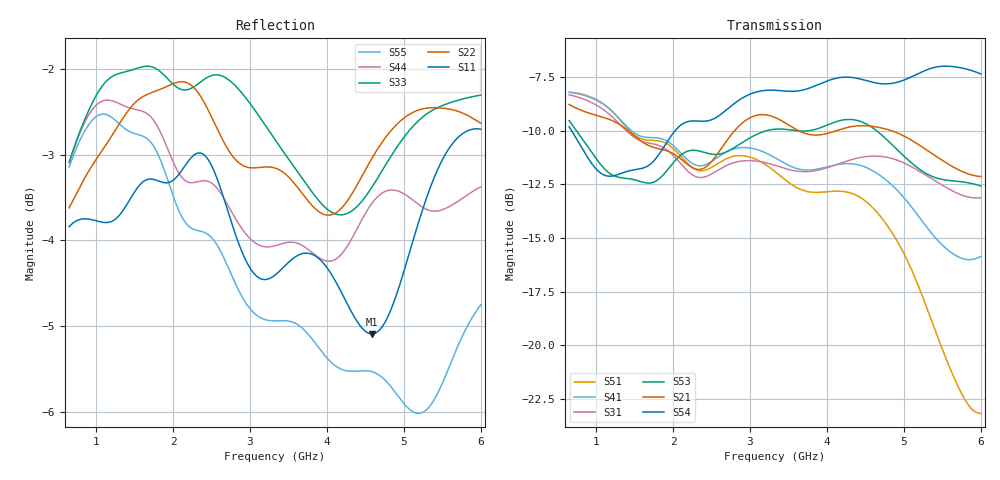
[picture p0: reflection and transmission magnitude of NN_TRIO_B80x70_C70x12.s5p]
! IGNION VIRTUAL ANTENNA LIBRARY
! NN_TRIO_B80x70_C70x12
! Virtual Antenna™ TRIO mXTEND™: NN03-310 30.0mm x 3.0mm x 1.0mm
! https://ignion.io/product/trio-mxtend/
! Board: 80mm x 70mm
! Clearance Area: 70mm x 12mm
! Feeding line: straight line; 9mm x 1mm
! Applications: Smartphone, Fleet management, IoT
! Frequency range 0.65GHz to 6GHz, step ~5MHz
! Number of ports 5
! This product and its use are protected by at least one or more of the following patents and
! patent applications PAT. US 2020/0176855 A1; WO 2019/008171 A1; and other domestic and international
! patents pending. Additional information about patents related to this product is available at
! https://ignion.io/files/Patent-list-NN.pdf, all rights reserved. Copyright, Ignion 2021.
! Need more help? Your platform is much different than these examples in the manual? Use our
! Fast Track service (https://ignion.io/fast-track/), for free, and get a personalized antenna design in
! just 24 hours.
! Touchstone port 1 = CST MWS port 1 ("Series Feeding Port 1")
! Touchstone port 2 = CST MWS port 2 ("Series in-Trio Port 1")
! Touchstone port 3 = CST MWS port 3 ("Series in-Trio Port 2")
! Touchstone port 4 = CST MWS port 4 ("Series Port in Feeding line of Port 2")
! Touchstone port 5 = CST MWS port 5 ("Series Feeding Port 2")
! CST MICROWAVE STUDIO 2019
# GHz S MA R 50
! Nport = 5
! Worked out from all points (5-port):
!   1001 points, 650 MHz to 6 GHz, reference 50 ohm
!   strongest paths, dB at 650 MHz, 1.988 GHz, 3.325 GHz, 4.662 GHz, 6 GHz:
!     S54: -9.8, -10.2, -8.1, -7.8, -7.4
!     S21: -8.8, -11.0, -9.4, -9.8, -12.1
!     S53: -9.5, -11.6, -9.9, -10.1, -12.6
!     S31: -8.3, -11.1, -11.6, -11.2, -13.1
!     S41: -8.2, -10.6, -11.3, -12.0, -15.9
!     S51: -8.2, -10.8, -11.9, -13.9, -23.2
!   lowest |S11| = -5.1 dB at 4.582 GHz (marker M1), VSWR 3.51, Z = 137 - j68.5 ohm
!   |S11| at or under -10 dB: nowhere
